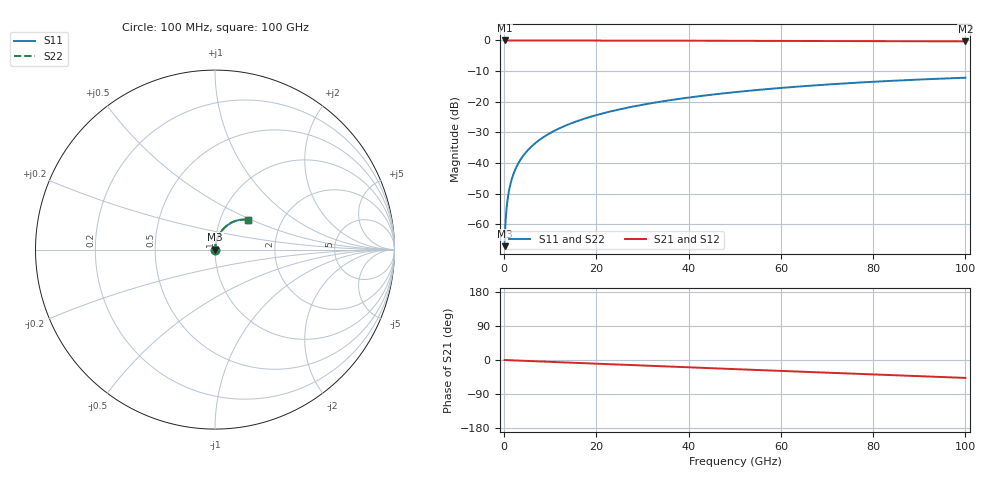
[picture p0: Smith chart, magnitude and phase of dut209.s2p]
! Touchstone file exported from HFSS 2026.1.0
!  File:  C:/ffzhzh/LocalFiles/Ansys_Project_Files/temp_train_TSV_209_1783507605_44152.aedt
!  Generated:  06:48:16 PM Jul  8, 2026
!  Design:  TSV
!  Project:  temp_train_TSV_209_1783507605_44152
! Variables:
!  h_bsmrdl = 2um
!  h_ox = 20um
!  h_rdl = 5um
!  h_sub = 90.8um
!  h_tmrdl = 5um
!  h_tsv = 90.8um
!  h_via = 3um
!  l_bsmrdl = 300um
!  l_sub = 413.52um
!  l_tmrdl = 200um
!  m_sub = 200um
!  pitch = 45.77um
!  r_tsv = 6.76um
!  s_tmrdl = 10um
!  w_bsmrdl = 18um
!  w_sub = 500um
!  w_tmrdl = 12um
!  x_tsv_center1 = 206um
!  x_tsv_center2 = 524um
!  x_tsv_center3 = 736um
!  x_tsv_center4 = 1054um
!  x_tsv_center5 = 1266um
!  x_tsv_center6 = 1584um
# GHz S MA R 50.000000
! Terminal data exported
! Port[1] = TSV1_1_T1
! Port[2] = TSV1_1_T2
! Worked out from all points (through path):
!   1000 points, 100 MHz to 100 GHz, reference 50 ohm
!   highest |S21| = 0.00 dB at 100 MHz (marker M1); lowest = -0.3 dB at 100 GHz (marker M2)
!   group delay of S21, straight-line fit = 1.31 ps
!   lowest |S11| = -67.2 dB at 100 MHz (marker M3), VSWR 1.00, Z = 50 + j0.0351 ohm
!   |S11| at or under -10 dB: start of sweep to end of sweep
!   |S22| runs from -67.2 to -12.2 dB; largest |S21 - S12| = 4.2e-15
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0.1  0.0004379 53.3  0.9997 -0.1  0.9997 -0.1  0.0004379 53.3
! Gamma 0 0 0 0
! Port Impedance 50 0 50 0
0.4  0.001402 77.0  0.9997 -0.2  0.9997 -0.2  0.001402 77.0
0.7  0.002377 81.0  0.9996 -0.4  0.9996 -0.4  0.002377 81.0
0.8  0.002701 81.7  0.9996 -0.4  0.9996 -0.4  0.002701 81.7
1  0.003348 82.6  0.9996 -0.5  0.9996 -0.5  0.003348 82.6
1.3  0.004312 83.4  0.9995 -0.7  0.9995 -0.7  0.004312 83.4
1.7  0.005585 83.9  0.9995 -0.9  0.9995 -0.9  0.005585 83.9
2.3  0.007468 84.1  0.9994 -1.1  0.9994 -1.1  0.007468 84.1
3  0.009632 84.2  0.9992 -1.5  0.9992 -1.5  0.009632 84.2
3.8  0.01208 84.2  0.9991 -1.9  0.9991 -1.9  0.01208 84.2
4.8  0.01512 84.1  0.999 -2.4  0.999 -2.4  0.01512 84.1
6  0.01876 83.9  0.9988 -3.0  0.9988 -3.0  0.01876 83.9
8.8  0.02721 83.1  0.9984 -4.3  0.9984 -4.3  0.02721 83.1
12.4  0.03799 81.7  0.9978 -6.1  0.9978 -6.1  0.03799 81.7
16.8  0.05102 79.8  0.997 -8.2  0.997 -8.2  0.05102 79.8
24.2  0.07261 76.6  0.9953 -11.8  0.9953 -11.8  0.07261 76.6
33.4  0.09872 72.4  0.9927 -16.2  0.9927 -16.2  0.09872 72.4
41.2  0.1201 68.8  0.9901 -19.9  0.9901 -19.9  0.1201 68.8
50.1  0.1434 64.7  0.9868 -24.1  0.9868 -24.1  0.1434 64.7
66.7  0.1833 57.1  0.9798 -31.9  0.9798 -31.9  0.1833 57.1
83.4  0.2181 49.5  0.9723 -39.7  0.9723 -39.7  0.218 49.5
100  0.2463 42.0  0.9653 -47.2  0.9653 -47.2  0.2463 42.0
